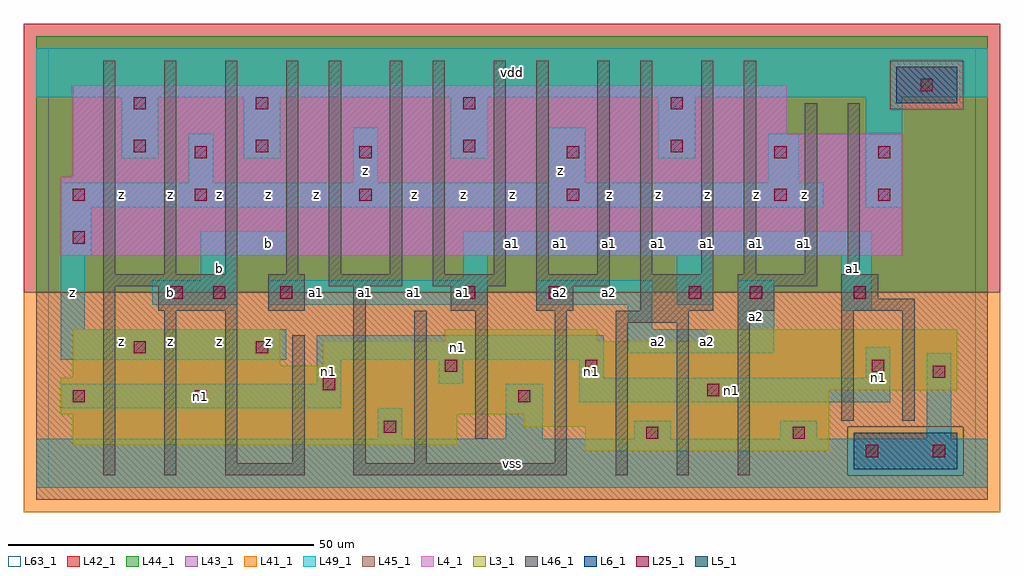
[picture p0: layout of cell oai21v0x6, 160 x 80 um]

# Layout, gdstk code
import gdstk
lib = gdstk.Library(unit=1e-6, precision=1e-09)
def R(c, l, rs):  # rectangles x0, y0, x1, y1
    for r in rs: c.add(gdstk.rectangle(r[:2], r[2:], *l))
def A(c, l, x, y, w, h, nx, ny, dx, dy):  # array of equal rectangles
    R(c, l, [(x+i*dx, y+j*dy, x+i*dx+w, y+j*dy+h) for i in range(nx) for j in range(ny)])
L3_1 = (3, 1)
L4_1 = (4, 1)
L5_1 = (5, 1)
L6_1 = (6, 1)
L25_1 = (25, 1)
L41_1 = (41, 1)
L42_1 = (42, 1)
L43_1 = (43, 1)
L44_1 = (44, 1)
L45_1 = (45, 1)
L46_1 = (46, 1)
L49_1 = (49, 1)
L63_1 = (63, 1)

oai21v0x6 = lib.new_cell('oai21v0x6')
R(oai21v0x6, L3_1, [(88,6,128,10), (4,7,67,12), (78,10,128,12), (2,12,128,16), (2,16,149,18), (4,18,149,20), (4,20,38,26), (45,20,149,24), (65,24,90,26), (108,24,149,26)])
R(oai21v0x6, L4_1, [(2,38,140,51), (4,51,140,58), (4,58,121,66)])
R(oai21v0x6, L5_1, [(139,63,149,69)])
R(oai21v0x6, L6_1, [(132,3,149,9), (132,3,149,9)])
A(oai21v0x6, L25_1, 51, 47, 2, 2, 3, 2, 34, 7)
A(oai21v0x6, L25_1, 34, 55, 2, 2, 3, 2, 34, 7)
R(oai21v0x6, L25_1, [(134,5,136,7), (145,5,147,7), (98,8,100,10), (122,8,124,10), (55,9,57,11), (4,14,6,16), (24,14,26,16), (77,14,79,16), (108,15,110,17), (45,16,47,18), (145,18,147,20), (65,19,67,21), (88,19,90,21), (135,19,137,21), (14,22,16,24), (34,22,36,24), (20,31,22,33), (27,31,29,33), (38,31,40,33), (68,31,70,33), (82,31,84,33), (105,31,107,33), (115,31,117,33), (132,31,134,33), (4,40,6,42), (4,47,6,49), (24,47,26,49), (136,47,138,49), (24,54,26,56), (136,54,138,56), (14,55,16,57), (14,62,16,64), (143,65,145,67)])
R(oai21v0x6, L41_1, [(-4,-4,156,32)])
R(oai21v0x6, L42_1, [(-4,32,156,76)])
R(oai21v0x6, L43_1, [(132,3,149,9), (88,6,128,10), (4,7,67,12), (78,10,128,12), (2,12,128,16), (2,16,149,18), (4,18,149,20), (4,20,38,26), (45,20,149,24), (65,24,90,26), (108,24,149,26), (2,38,140,51), (4,51,140,58), (4,58,121,66), (139,63,149,69)])
R(oai21v0x6, L44_1, [(131,2,150,10), (-2,32,154,62), (-2,62,138,70), (150,62,154,70), (-2,70,154,74)])
R(oai21v0x6, L45_1, [(-2,-2,154,2), (-2,2,131,10), (150,2,154,10), (-2,10,154,32), (138,62,150,70)])
A(oai21v0x6, L46_1, 46, 33, 12, 2, 3, 1, 17, 0)
A(oai21v0x6, L46_1, 9, 35, 2, 35, 4, 1, 10, 0)
R(oai21v0x6, L46_1, [(9,2,11,33), (19,2,21,29), (29,2,42,4), (50,2,85,4), (93,2,95,27), (103,2,105,27), (113,2,115,29), (29,4,31,29), (40,4,42,25), (50,4,52,33), (60,4,62,29), (83,4,85,29), (70,8,72,29), (130,11,132,29), (140,11,142,29), (93,27,105,29), (18,29,31,33), (36,29,42,35), (66,29,72,33), (80,29,86,33), (97,29,109,35), (113,29,119,33), (130,29,142,31), (130,31,136,35), (9,33,31,35), (113,33,126,35), (46,35,48,70), (56,35,58,70), (63,35,65,70), (73,35,75,70), (80,35,82,70), (90,35,92,70), (97,35,99,70), (107,35,109,70), (114,35,116,70), (124,35,126,63), (131,35,133,63)])
A(oai21v0x6, L49_1, 32, 54, 6, 10, 3, 1, 34, 0)
R(oai21v0x6, L49_1, [(-2,0,154,8), (54,8,58,13), (75,8,81,17), (96,8,102,11), (120,8,126,11), (144,8,148,22), (2,13,48,17), (87,14,138,18), (44,17,48,21), (64,17,68,21), (87,18,91,21), (134,18,138,23), (2,21,39,26), (44,21,91,25), (95,22,119,26), (2,26,6,38), (95,26,99,30), (113,26,119,34), (130,29,135,38), (17,30,31,34), (36,30,72,34), (80,30,99,34), (103,30,109,38), (25,34,31,38), (68,34,72,38), (2,38,7,46), (25,38,39,42), (68,38,135,42), (2,46,127,50), (134,46,140,64), (23,50,27,58), (50,50,54,59), (82,50,88,59), (118,50,123,58), (12,54,18,64), (-2,64,154,72)])
R(oai21v0x6, L63_1, [(0,0,152,72)])
oai21v0x6.add(gdstk.Label('z', (20,24), layer=49, texttype=1))
oai21v0x6.add(gdstk.Label('z', (12,24), layer=49, texttype=1))
oai21v0x6.add(gdstk.Label('z', (4,32), layer=49, texttype=1))
oai21v0x6.add(gdstk.Label('b', (20,32), layer=49, texttype=1))
oai21v0x6.add(gdstk.Label('z', (20,48), layer=49, texttype=1))
oai21v0x6.add(gdstk.Label('z', (12,48), layer=49, texttype=1))
oai21v0x6.add(gdstk.Label('n1', (46,19), layer=49, texttype=1))
oai21v0x6.add(gdstk.Label('n1', (25,15), layer=49, texttype=1))
oai21v0x6.add(gdstk.Label('z', (28,24), layer=49, texttype=1))
oai21v0x6.add(gdstk.Label('z', (36,24), layer=49, texttype=1))
oai21v0x6.add(gdstk.Label('a1', (52,32), layer=49, texttype=1))
oai21v0x6.add(gdstk.Label('a1', (44,32), layer=49, texttype=1))
oai21v0x6.add(gdstk.Label('b', (28,36), layer=49, texttype=1))
oai21v0x6.add(gdstk.Label('b', (36,40), layer=49, texttype=1))
oai21v0x6.add(gdstk.Label('z', (28,48), layer=49, texttype=1))
oai21v0x6.add(gdstk.Label('z', (52,52), layer=49, texttype=1))
oai21v0x6.add(gdstk.Label('z', (44,48), layer=49, texttype=1))
oai21v0x6.add(gdstk.Label('z', (36,48), layer=49, texttype=1))
oai21v0x6.add(gdstk.Label('vss', (76,4), layer=49, texttype=1))
oai21v0x6.add(gdstk.Label('n1', (89,19), layer=49, texttype=1))
oai21v0x6.add(gdstk.Label('n1', (67,23), layer=49, texttype=1))
oai21v0x6.add(gdstk.Label('a2', (84,32), layer=49, texttype=1))
oai21v0x6.add(gdstk.Label('a1', (68,32), layer=49, texttype=1))
oai21v0x6.add(gdstk.Label('a1', (60,32), layer=49, texttype=1))
oai21v0x6.add(gdstk.Label('a1', (84,40), layer=49, texttype=1))
oai21v0x6.add(gdstk.Label('a1', (76,40), layer=49, texttype=1))
oai21v0x6.add(gdstk.Label('z', (60,48), layer=49, texttype=1))
oai21v0x6.add(gdstk.Label('z', (84,52), layer=49, texttype=1))
oai21v0x6.add(gdstk.Label('z', (76,48), layer=49, texttype=1))
oai21v0x6.add(gdstk.Label('z', (68,48), layer=49, texttype=1))
oai21v0x6.add(gdstk.Label('vdd', (76,68), layer=49, texttype=1))
oai21v0x6.add(gdstk.Label('a2', (108,24), layer=49, texttype=1))
oai21v0x6.add(gdstk.Label('a2', (100,24), layer=49, texttype=1))
oai21v0x6.add(gdstk.Label('a2', (116,28), layer=49, texttype=1))
oai21v0x6.add(gdstk.Label('a2', (92,32), layer=49, texttype=1))
oai21v0x6.add(gdstk.Label('a1', (92,40), layer=49, texttype=1))
oai21v0x6.add(gdstk.Label('a1', (116,40), layer=49, texttype=1))
oai21v0x6.add(gdstk.Label('a1', (108,40), layer=49, texttype=1))
oai21v0x6.add(gdstk.Label('a1', (100,40), layer=49, texttype=1))
oai21v0x6.add(gdstk.Label('z', (92,48), layer=49, texttype=1))
oai21v0x6.add(gdstk.Label('z', (116,48), layer=49, texttype=1))
oai21v0x6.add(gdstk.Label('z', (108,48), layer=49, texttype=1))
oai21v0x6.add(gdstk.Label('z', (100,48), layer=49, texttype=1))
oai21v0x6.add(gdstk.Label('n1', (136,18), layer=49, texttype=1))
oai21v0x6.add(gdstk.Label('n1', (112,16), layer=49, texttype=1))
oai21v0x6.add(gdstk.Label('a1', (124,40), layer=49, texttype=1))
oai21v0x6.add(gdstk.Label('a1', (132,36), layer=49, texttype=1))
oai21v0x6.add(gdstk.Label('z', (124,48), layer=49, texttype=1))

lib.write_gds('oai21v0x6.gds')
